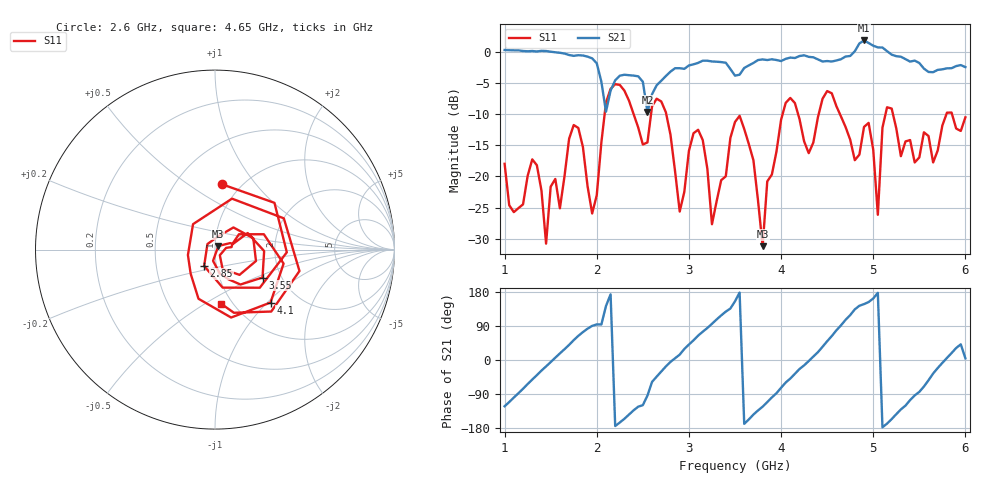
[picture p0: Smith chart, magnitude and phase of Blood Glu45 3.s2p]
! NanoVNA-App
! Date: 2024-03-20 19:54:45
! Start: 1GHz Stop: 6GHz Points: 101
! S-Parameter data: F S11 S21 S12 S22
# Hz S RI R 50
!  Frequency  S11_Real  S11_Imag  S21_Real  S21_Imag  S12_Real  S12_Imag  S22_Real  S22_Imag
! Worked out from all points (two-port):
!   101 points, 1 GHz to 6 GHz, reference 50 ohm
!   highest |S21| = 1.86 dB at 4.9 GHz (marker M1); lowest = -9.6 dB at 2.55 GHz (marker M2)
!   |S21| within 3 dB of the highest: start of sweep to 1.958 GHz; 4.652 GHz to 5.35 GHz (697.6 MHz wide, 13.9 % of centre)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
!   lowest |S11| = -31.2 dB at 3.8 GHz (marker M3), VSWR 1.06, Z = 51.9 + j2.1 ohm
!   |S11| at or under -10 dB: start of sweep to 2.085 GHz; 2.754 GHz to 4.016 GHz (1.262 GHz wide, 37.3 % of centre); 5.214 GHz to 5.794 GHz (579.7 MHz wide, 10.5 % of centre)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
!   S12 and S22 are empty: the file has one direction only
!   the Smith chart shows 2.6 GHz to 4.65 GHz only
!   S11 on the Smith chart (normalised r, x): 2.6 GHz: 0.82, +0.69; 2.85 GHz: 0.87, -0.16; 3.55 GHz: 1.60, -0.55; 4.1 GHz: 1.45, -1.05; 4.65 GHz: 0.89, -0.59
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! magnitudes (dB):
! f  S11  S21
! 1 GHz  -18.0  0.3
! 1.35 GHz  -18.2  0.1
! 1.45 GHz  -30.8  0.2
! 1.85 GHz  -15.3  -0.6
! 1.95 GHz  -26.0  -1.0
! 2.15 GHz  -5.9  -6.2
! 2.55 GHz  -14.5  -9.6
! 2.6 GHz  -8.7  -6.8
! 2.7 GHz  -7.9  -4.6
! 2.85 GHz  -19.2  -2.6
! 3.1 GHz  -12.5  -1.7
! 3.25 GHz  -27.7  -1.5
! 3.5 GHz  -11.2  -3.8
! 3.55 GHz  -10.3  -3.6
! 3.8 GHz  -31.2  -1.2
! 4.1 GHz  -7.4  -0.9
! 4.35 GHz  -14.5  -0.8
! 4.65 GHz  -10.4  -1.2
! 4.9 GHz  -12.0  1.9
! 5.05 GHz  -26.2  0.7
! 5.2 GHz  -9.1  -0.4
! 6 GHz  -10.5  -2.4
